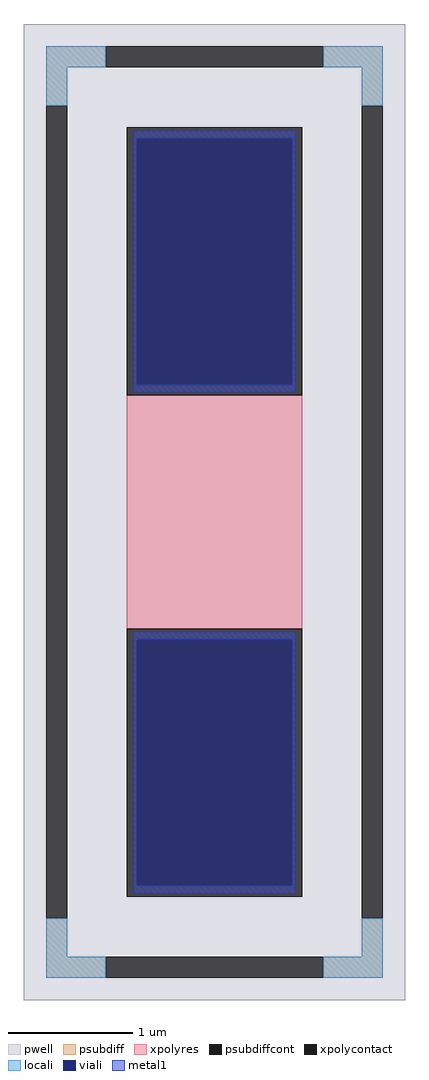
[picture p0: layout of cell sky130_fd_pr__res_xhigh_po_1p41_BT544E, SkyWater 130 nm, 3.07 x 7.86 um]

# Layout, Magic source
magic
tech sky130A
magscale 1 2
<< pwell >>
rect -307 -786 307 786
<< psubdiff >>
rect -271 716 -175 750
rect 175 716 271 750
rect -271 654 -237 716
rect 237 654 271 716
rect -271 -716 -237 -654
rect 237 -716 271 -654
rect -271 -750 -175 -716
rect 175 -750 271 -716
<< psubdiffcont >>
rect -175 716 175 750
rect -271 -654 -237 654
rect 237 -654 271 654
rect -175 -750 175 -716
<< xpolycontact >>
rect -141 188 141 620
rect -141 -620 141 -188
<< xpolyres >>
rect -141 -188 141 188
<< locali >>
rect -271 716 -175 750
rect 175 716 271 750
rect -271 654 -237 716
rect 237 654 271 716
rect -271 -716 -237 -654
rect 237 -716 271 -654
rect -271 -750 -175 -716
rect 175 -750 271 -716
<< viali >>
rect -125 205 125 602
rect -125 -602 125 -205
<< metal1 >>
rect -131 602 131 614
rect -131 205 -125 602
rect 125 205 131 602
rect -131 193 131 205
rect -131 -205 131 -193
rect -131 -602 -125 -205
rect 125 -602 131 -205
rect -131 -614 131 -602
<< properties >>
string FIXED_BBOX -254 -733 254 733
string gencell sky130_fd_pr__res_xhigh_po_1p41
string library sky130
string parameters w 1.410 l 2.04 m 1 nx 1 wmin 1.410 lmin 0.50 rho 2000 val 3.16k dummy 0 dw 0.0 term 188.2 sterm 0.0 caplen 0 wmax 1.410 guard 1 glc 1 grc 1 gtc 1 gbc 1 compatible {sky130_fd_pr__res_xhigh_po_0p35  sky130_fd_pr__res_xhigh_po_0p69 sky130_fd_pr__res_xhigh_po_1p41  sky130_fd_pr__res_xhigh_po_2p85 sky130_fd_pr__res_xhigh_po_5p73} snake 0 full_metal 1 n_guard 0 hv_guard 0 vias 1 viagb 0 viagt 0 viagl 0 viagr 0
<< end >>
